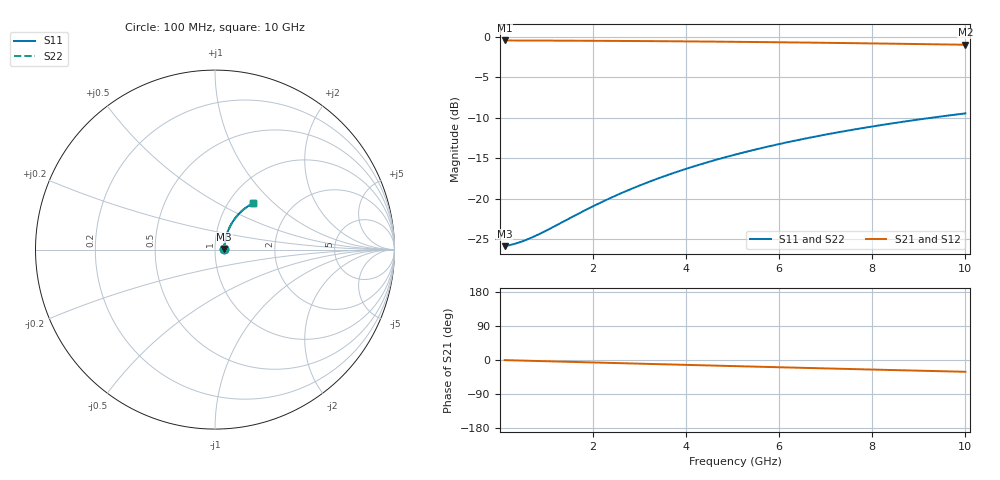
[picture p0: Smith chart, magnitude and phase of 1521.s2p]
# Hz S RI R 50.00
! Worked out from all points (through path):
!   100 points, 100 MHz to 10 GHz, reference 50 ohm
!   highest |S21| = -0.45 dB at 100 MHz (marker M1); lowest = -1.0 dB at 10 GHz (marker M2)
!   group delay of S21, straight-line fit = 8.66 ps
!   lowest |S11| = -25.9 dB at 100 MHz (marker M3), VSWR 1.11, Z = 55.3 + j0.373 ohm
!   |S11| at or under -10 dB: start of sweep to 9.277 GHz
!   |S22| runs from -25.9 to -9.5 dB; largest |S21 - S12| = 0
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1e8  0.0507 0.00336  0.9493 -0.00537  0.9493 -0.00537  0.0507 0.00336
3e8  0.0514 0.0101  0.9485 -0.0161  0.9485 -0.0161  0.0514 0.0101
4e8  0.0518 0.0134  0.9482 -0.0214  0.9482 -0.0214  0.0518 0.0134
5e8  0.0521 0.0168  0.9478 -0.0268  0.9478 -0.0268  0.0521 0.0168
7e8  0.0528 0.0234  0.9471 -0.0375  0.9471 -0.0375  0.0528 0.0234
1e9  0.0541 0.0334  0.9457 -0.0535  0.9457 -0.0535  0.0541 0.0334
1.8e9  0.0589 0.0597  0.9404 -0.0958  0.9404 -0.0958  0.0589 0.0597
2.2e9  0.0622 0.0726  0.9368 -0.1168  0.9368 -0.1168  0.0622 0.0726
2.6e9  0.0659 0.0854  0.9326 -0.1375  0.9326 -0.1375  0.0659 0.0854
3e9  0.0703 0.0979  0.9278 -0.1581  0.9278 -0.1581  0.0703 0.0979
3.4e9  0.0751 0.1102  0.9225 -0.1784  0.9225 -0.1784  0.0751 0.1102
3.8e9  0.0805 0.1222  0.9165 -0.1985  0.9165 -0.1985  0.0805 0.1222
4.2e9  0.0863 0.1339  0.91 -0.2182  0.91 -0.2182  0.0863 0.1339
4.6e9  0.0927 0.1453  0.9029 -0.2377  0.9029 -0.2377  0.0927 0.1453
5.1e9  0.1013 0.1591  0.8933 -0.2615  0.8933 -0.2615  0.1013 0.1591
5.5e9  0.1086 0.1697  0.885 -0.2802  0.885 -0.2802  0.1086 0.1697
5.9e9  0.1164 0.1799  0.8763 -0.2985  0.8763 -0.2985  0.1164 0.1799
6.7e9  0.1331 0.1991  0.8575 -0.3338  0.8575 -0.3338  0.1331 0.1991
7.5e9  0.1512 0.2166  0.837 -0.3675  0.837 -0.3675  0.1512 0.2166
8.4e9  0.1729 0.2341  0.8122 -0.4033  0.8122 -0.4033  0.1729 0.2341
9.2e9  0.1932 0.2476  0.7889 -0.4331  0.7889 -0.4331  0.1932 0.2476
1e10  0.2142 0.2593  0.7646 -0.4611  0.7646 -0.4611  0.2142 0.2593
